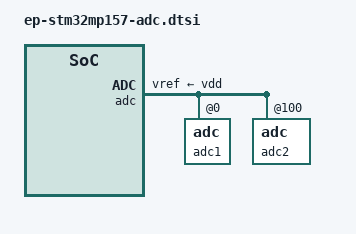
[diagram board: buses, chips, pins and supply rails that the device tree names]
// SPDX-License-Identifier: (GPL-2.0+ OR BSD-3-Clause)
/*
 * Copyright (C) STMicroelectronics 2017 - All Rights Reserved
 * Author: Ludovic Barre <ludovic.barre@st.com> for STMicroelectronics.
 */
#include <dt-bindings/pinctrl/stm32-pinfunc.h>

&adc {
	pinctrl-names = "default";
	pinctrl-0 = <>;
	vdd-supply = <&vdd>;
	vdda-supply = <&vdd>;
	vref-supply = <&vdd>;
	status = "okay";
	adc1: adc@0 {
		/*
		 * Type-C USB_PWR_CC1 & USB_PWR_CC2 on in18 & in19.
		 * Use at least 5 * RC time, e.g. 5 * (Rp + Rd) * C:
		 * 5 * (56 + 47kOhms) * 5pF => 2.5us.
		 * Use arbitrary margin here (e.g. 5us).
		 */
		st,min-sample-time-nsecs = <5000>;
		/* AIN connector, USB Type-C CC1 & CC2 */
		st,adc-channels = <0 1 2 3 6 9 10 13 15 16 18 19>;
		status = "okay";
	};
	adc2: adc@100 {
		/* AIN connector, USB Type-C CC1 & CC2 */
		st,adc-channels = <2 6>;
		st,min-sample-time-nsecs = <5000>;
		status = "okay";
	};
};
